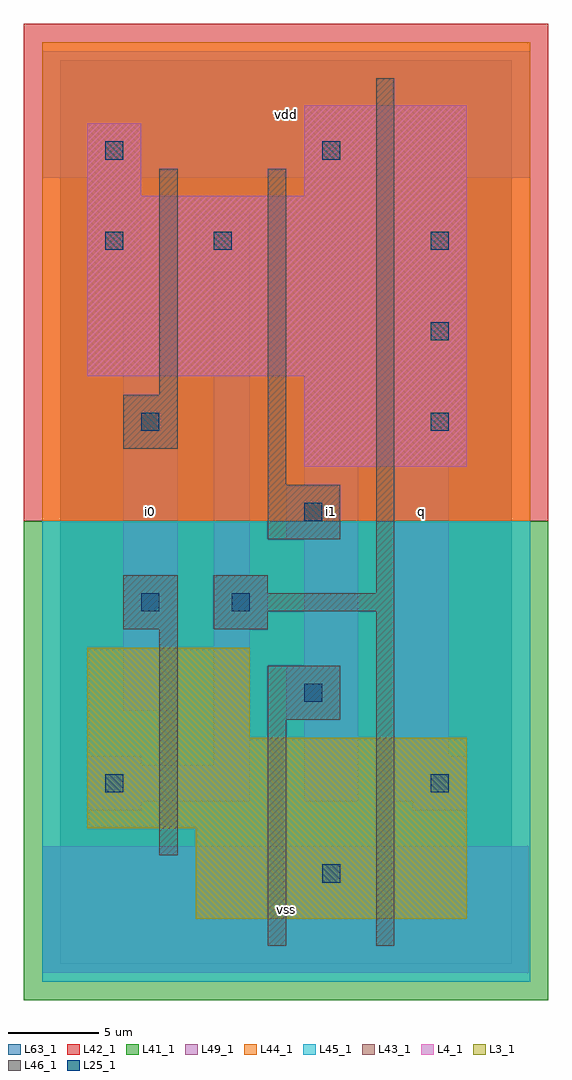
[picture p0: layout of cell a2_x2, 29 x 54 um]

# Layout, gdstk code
import gdstk
lib = gdstk.Library(unit=1e-6, precision=1e-09)
def R(c, l, rs):  # rectangles x0, y0, x1, y1
    for r in rs: c.add(gdstk.rectangle(r[:2], r[2:], *l))
def A(c, l, x, y, w, h, nx, ny, dx, dy):  # array of equal rectangles
    R(c, l, [(x+i*dx, y+j*dy, x+i*dx+w, y+j*dy+h) for i in range(nx) for j in range(ny)])
L3_1 = (3, 1)
L4_1 = (4, 1)
L25_1 = (25, 1)
L41_1 = (41, 1)
L42_1 = (42, 1)
L43_1 = (43, 1)
L44_1 = (44, 1)
L45_1 = (45, 1)
L46_1 = (46, 1)
L49_1 = (49, 1)
L63_1 = (63, 1)

a2_x2 = lib.new_cell('a2_x2')
R(a2_x2, L3_1, [(7.5,2.5,22.5,7.5), (1.5,7.5,22.5,12.5), (1.5,12.5,10.5,17.5)])
R(a2_x2, L4_1, [(13.5,27.5,22.5,32.5), (1.5,32.5,22.5,42.5), (1.5,42.5,4.5,46.5), (13.5,42.5,22.5,47.5)])
A(a2_x2, L25_1, 20.5, 29.5, 1, 1, 1, 3, 0, 5)
R(a2_x2, L25_1, [(14.5,4.5,15.5,5.5), (2.5,9.5,3.5,10.5), (20.5,9.5,21.5,10.5), (13.5,14.5,14.5,15.5), (4.5,19.5,5.5,20.5), (9.5,19.5,10.5,20.5), (13.5,24.5,14.5,25.5), (4.5,29.5,5.5,30.5), (2.5,39.5,3.5,40.5), (8.5,39.5,9.5,40.5), (2.5,44.5,3.5,45.5), (14.5,44.5,15.5,45.5)])
R(a2_x2, L41_1, [(-2,-2,27,24.5)])
R(a2_x2, L42_1, [(-2,24.5,27,52)])
R(a2_x2, L43_1, [(7.5,2.5,22.5,7.5), (1.5,7.5,22.5,12.5), (1.5,12.5,10.5,17.5), (13.5,27.5,22.5,32.5), (1.5,32.5,22.5,42.5), (1.5,42.5,4.5,46.5), (13.5,42.5,22.5,47.5)])
R(a2_x2, L44_1, [(-1,24.5,26,51)])
R(a2_x2, L45_1, [(-1,-1,26,24.5)])
R(a2_x2, L46_1, [(11.5,1,12.5,13.5), (17.5,1,18.5,19.5), (5.5,6,6.5,18.5), (11.5,13.5,15.5,16.5), (3.5,18.5,6.5,21.5), (8.5,18.5,11.5,19.5), (8.5,19.5,18.5,20.5), (8.5,20.5,11.5,21.5), (17.5,20.5,18.5,49), (11.5,23.5,15.5,26.5), (11.5,26.5,12.5,44), (3.5,28.5,6.5,31.5), (5.5,31.5,6.5,44)])
R(a2_x2, L49_1, [(-1,-0.5,26,6.5), (1.5,8.5,4.5,9), (19.5,8.5,22.5,9), (1.5,9,10.5,11), (13.5,9,16.5,13.5), (18.5,9,22.5,11.5), (1.5,11,4.5,11.5), (8.5,11,10.5,18.5), (18.5,11.5,21.5,28.5), (12.5,13.5,16.5,16.5), (3.5,14,6.5,36), (13.5,16.5,16.5,23.5), (8.5,18.5,11.5,21.5), (8.5,21.5,10.5,38.5), (12.5,23.5,16.5,26.5), (13.5,26.5,16.5,41), (18.5,28.5,22.5,31.5), (18.5,31.5,21.5,33.5), (18.5,33.5,22.5,36.5), (18.5,36.5,21.5,38.5), (1.5,38.5,4.5,43.5), (7.5,38.5,10.5,41.5), (18.5,38.5,22.5,41), (19.5,41,22.5,41.5), (-1,43.5,26,50.5)])
R(a2_x2, L63_1, [(0,0,25,50)])
a2_x2.add(gdstk.Label('i0', (5,25), layer=49, texttype=1))
a2_x2.add(gdstk.Label('i0', (5,25), layer=49, texttype=1))
a2_x2.add(gdstk.Label('vss', (12.5,3), layer=49, texttype=1))
a2_x2.add(gdstk.Label('vss', (12.5,3), layer=49, texttype=1))
a2_x2.add(gdstk.Label('i1', (15,25), layer=49, texttype=1))
a2_x2.add(gdstk.Label('i1', (15,25), layer=49, texttype=1))
a2_x2.add(gdstk.Label('vdd', (12.5,47), layer=49, texttype=1))
a2_x2.add(gdstk.Label('vdd', (12.5,47), layer=49, texttype=1))
a2_x2.add(gdstk.Label('q', (20,25), layer=49, texttype=1))
a2_x2.add(gdstk.Label('q', (20,25), layer=49, texttype=1))

lib.write_gds('a2_x2.gds')
